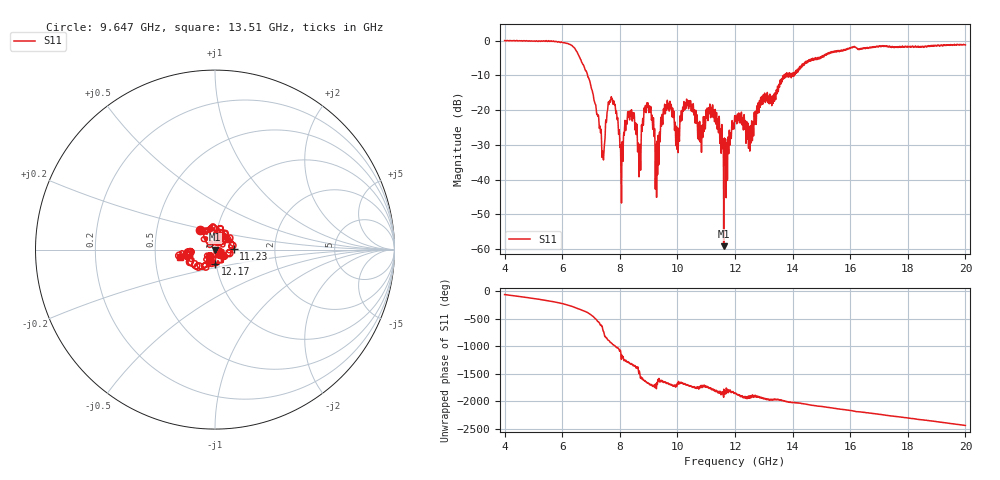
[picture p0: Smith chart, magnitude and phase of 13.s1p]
[Version] 2.0
! Rohde & Schwarz Vector Network Analyzer
! Rohde-Schwarz,ZNL20-2Port,1323001220200009,1.71.1.10-23.02.1.238
! Port Assignments:
! Nominal Port -> Actual Test Port
!  1 -> 1
! Created: GMT+2 2025-01-17 12:48:26
# Hz S RI R 50
[Number of Ports] 1
! freq[Hz]  S11[Re]  S11[Im]
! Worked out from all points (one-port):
!   16001 points, 4 GHz to 20 GHz, reference 50 ohm
!   lowest |S11| = -59.2 dB at 11.61 GHz (marker M1), VSWR 1.00, Z = 50 - j0.103 ohm
!   |S11| at or under -10 dB: 6.882 GHz to 13.7 GHz (6.816 GHz wide, 66.2 % of centre); 13.71192 GHz to 13.73983 GHz (27.9 MHz wide, 0.203 % of centre); 13.94146 GHz to 13.96419 GHz (22.73 MHz wide, 0.163 % of centre)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
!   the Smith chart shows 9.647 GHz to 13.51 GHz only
!   S11 on the Smith chart (normalised r, x): 9.647 GHz: 0.83, +0.19; 11.23 GHz: 1.23, +0.01; 12.17 GHz: 0.99, -0.16; 13.51 GHz: 0.67, -0.06
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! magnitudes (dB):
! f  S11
! 4 GHz  0.0
! 6 GHz  -0.5
! 6.886 GHz  -10.2
! 7.408 GHz  -31.8
! 7.627 GHz  -18.3
! 7.766 GHz  -18.3
! 8 GHz  -29.6
! 8.082 GHz  -29.2
! 8.342 GHz  -22.8
! 8.687 GHz  -30.5
! 9.003 GHz  -20.5
! 9.297 GHz  -29.1
! 9.647 GHz  -17.2
! 10 GHz  -25.5
! 10.29 GHz  -19.5
! 10.78 GHz  -23.7
! 11.23 GHz  -19.7
! 11.61 GHz  -59.2
! 11.67 GHz  -28.7
! 12 GHz  -22.1
! 12.17 GHz  -22.0
! 12.54 GHz  -24.5
! 12.92 GHz  -18.4
! 13.51 GHz  -14.0
! 14 GHz  -10.2
! 16 GHz  -2.0
! 18 GHz  -1.6
! 20 GHz  -1.2
